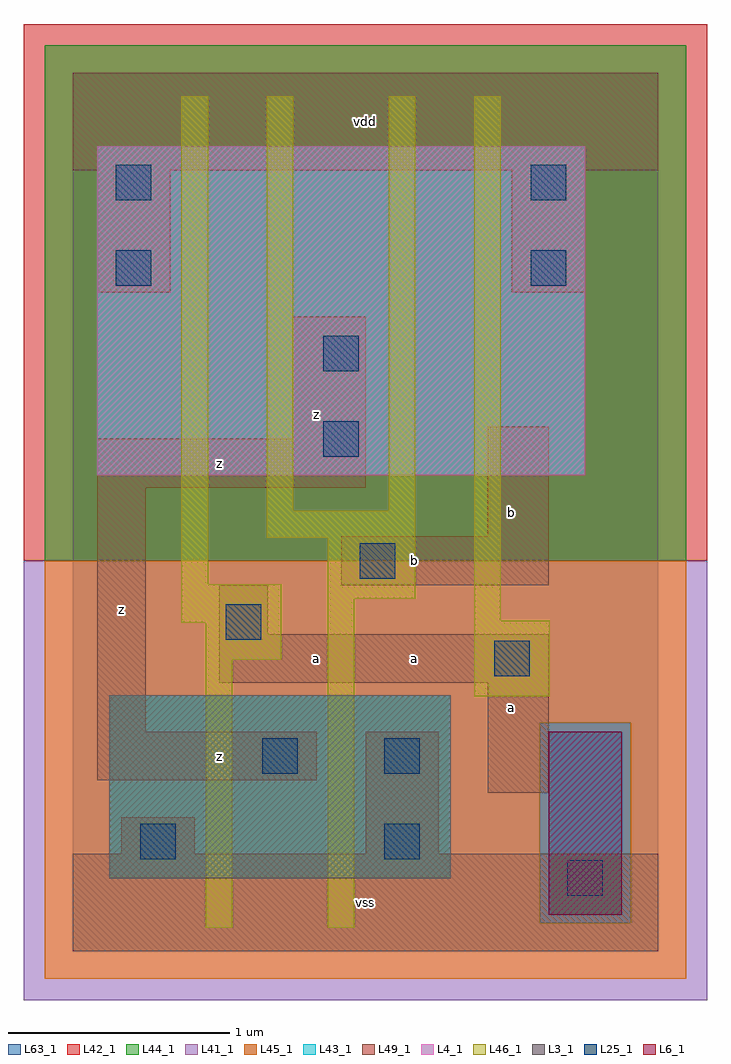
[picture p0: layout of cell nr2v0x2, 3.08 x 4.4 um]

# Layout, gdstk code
import gdstk
lib = gdstk.Library(unit=1e-6, precision=1e-09)
def R(c, l, rs):  # rectangles x0, y0, x1, y1
    for r in rs: c.add(gdstk.rectangle(r[:2], r[2:], *l))
L3_1 = (3, 1)
L4_1 = (4, 1)
L6_1 = (6, 1)
L25_1 = (25, 1)
L41_1 = (41, 1)
L42_1 = (42, 1)
L43_1 = (43, 1)
L44_1 = (44, 1)
L45_1 = (45, 1)
L46_1 = (46, 1)
L49_1 = (49, 1)
L63_1 = (63, 1)

nr2v0x2 = lib.new_cell('nr2v0x2')
R(nr2v0x2, L3_1, [(0.165,0.33,1.705,1.155)])
R(nr2v0x2, L4_1, [(0.11,2.145,2.31,3.63)])
R(nr2v0x2, L6_1, [(2.145,0.165,2.475,0.99)])
R(nr2v0x2, L25_1, [(2.23,0.25,2.39,0.41), (0.305,0.415,0.465,0.575), (1.405,0.415,1.565,0.575), (0.855,0.8,1.015,0.96), (1.405,0.8,1.565,0.96), (1.9,1.24,2.06,1.4), (0.69,1.405,0.85,1.565), (1.295,1.68,1.455,1.84), (1.13,2.23,1.29,2.39), (1.13,2.615,1.29,2.775), (0.195,3,0.355,3.16), (2.065,3,2.225,3.16), (0.195,3.385,0.355,3.545), (2.065,3.385,2.225,3.545)])
R(nr2v0x2, L41_1, [(-0.22,-0.22,2.86,1.76)])
R(nr2v0x2, L42_1, [(-0.22,1.76,2.86,4.18)])
R(nr2v0x2, L43_1, [(2.145,0.165,2.475,0.99), (0.165,0.33,1.705,1.155), (0.11,2.145,2.31,3.63)])
R(nr2v0x2, L44_1, [(2.105,0.125,2.515,1.03), (-0.125,1.76,2.765,4.085)])
R(nr2v0x2, L45_1, [(-0.125,-0.125,2.765,0.125), (-0.125,0.125,2.105,1.03), (2.515,0.125,2.765,1.03), (-0.125,1.03,2.765,1.76)])
R(nr2v0x2, L46_1, [(0.6,0.105,0.72,1.315), (1.15,0.105,1.27,1.59), (1.81,1.15,2.15,1.49), (0.6,1.315,0.94,1.48), (0.49,1.48,0.94,1.655), (1.81,1.49,1.93,3.855), (1.15,1.59,1.545,1.865), (0.49,1.655,0.61,3.855), (0.875,1.865,1.545,1.985), (0.875,1.985,0.995,3.855), (1.425,1.985,1.545,3.855)])
R(nr2v0x2, L49_1, [(0,0,2.64,0.44), (0.22,0.44,0.55,0.605), (1.32,0.44,1.65,0.99), (1.87,0.715,2.145,1.21), (0.11,0.77,1.1,0.99), (0.11,0.99,0.33,2.09), (0.66,1.21,2.145,1.43), (0.66,1.43,0.88,1.65), (1.21,1.65,2.145,1.87), (1.87,1.87,2.145,2.365), (0.11,2.09,1.32,2.31), (0.99,2.31,1.32,2.86), (0.11,2.97,0.44,3.52), (1.98,2.97,2.31,3.52), (0,3.52,2.64,3.96)])
R(nr2v0x2, L63_1, [(0,0,2.64,3.96)])
nr2v0x2.add(gdstk.Label('z', (0.22,1.54), layer=49, texttype=1))
nr2v0x2.add(gdstk.Label('z', (0.66,0.88), layer=49, texttype=1))
nr2v0x2.add(gdstk.Label('a', (1.1,1.32), layer=49, texttype=1))
nr2v0x2.add(gdstk.Label('z', (0.66,2.2), layer=49, texttype=1))
nr2v0x2.add(gdstk.Label('z', (1.1,2.42), layer=49, texttype=1))
nr2v0x2.add(gdstk.Label('vss', (1.32,0.22), layer=49, texttype=1))
nr2v0x2.add(gdstk.Label('a', (1.54,1.32), layer=49, texttype=1))
nr2v0x2.add(gdstk.Label('b', (1.54,1.76), layer=49, texttype=1))
nr2v0x2.add(gdstk.Label('vdd', (1.32,3.74), layer=49, texttype=1))
nr2v0x2.add(gdstk.Label('a', (1.98,1.1), layer=49, texttype=1))
nr2v0x2.add(gdstk.Label('b', (1.98,1.98), layer=49, texttype=1))

lib.write_gds('nr2v0x2.gds')
